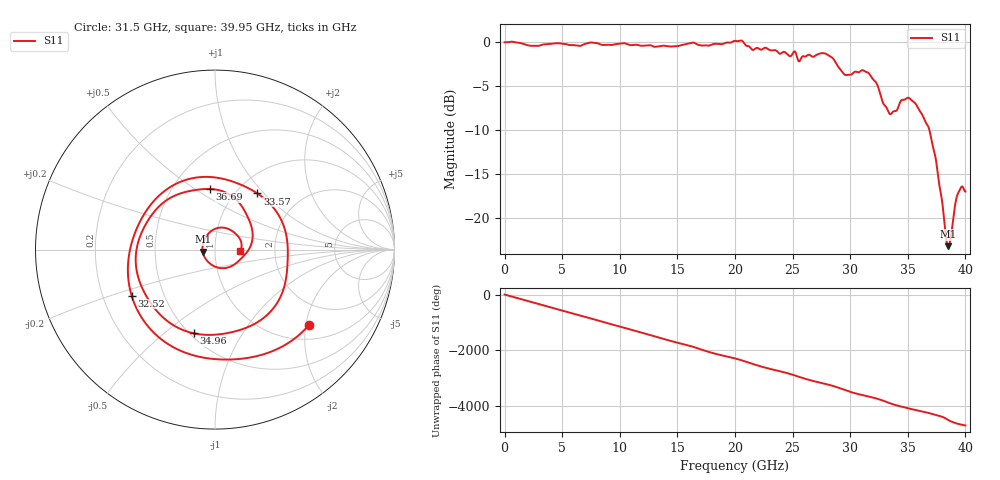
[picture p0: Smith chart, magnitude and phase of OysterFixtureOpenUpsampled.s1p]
# MHz MA S R 50.0
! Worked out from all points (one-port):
!   8000 points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, 5 MHz to 40 GHz, reference 50 ohm
!   lowest |S11| = -23.1 dB at 38.51 GHz (marker M1), VSWR 1.15, Z = 43.6 - j1.06 ohm
!   |S11| at or under -10 dB: 36.88 GHz to end of sweep
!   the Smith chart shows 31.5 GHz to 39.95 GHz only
!   S11 on the Smith chart (normalised r, x): 31.5 GHz: 1.37, -2.09; 32.52 GHz: 0.32, -0.23; 33.57 GHz: 1.24, +0.92; 34.96 GHz: 0.52, -0.64; 36.69 GHz: 0.75, +0.58; 39.95 GHz: 1.33, -0.02
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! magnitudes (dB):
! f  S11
! 5 MHz  -0.1
! 5.005 GHz  -0.2
! 10.01 GHz  -0.2
! 15.01 GHz  -0.5
! 20 GHz  0.1
! 21.55 GHz  -0.9
! 25 GHz  -1.3
! 25.59 GHz  -2.2
! 27.84 GHz  -1.3
! 29.46 GHz  -3.7
! 30 GHz  -3.7
! 31.5 GHz  -3.5
! 32.52 GHz  -5.5
! 32.92 GHz  -7.1
! 33.57 GHz  -8.1
! 34.96 GHz  -6.4
! 35.01 GHz  -6.3
! 35.7 GHz  -7.0
! 36.69 GHz  -9.4
! 37.4 GHz  -13.0
! 37.95 GHz  -17.8
! 38.31 GHz  -22.2
! 38.51 GHz  -23.1
! 38.7 GHz  -22.3
! 39.32 GHz  -17.3
! 39.63 GHz  -16.5
! 39.95 GHz  -16.9
! 40 GHz  -17.0
